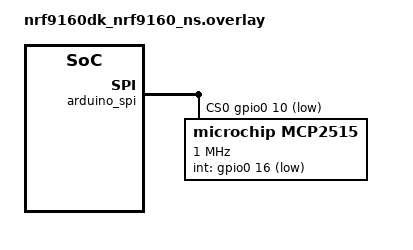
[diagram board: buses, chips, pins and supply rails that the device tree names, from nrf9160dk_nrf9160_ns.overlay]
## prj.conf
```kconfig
#
# Copyright (c) 2019 Nordic Semiconductor ASA
#
# SPDX-License-Identifier: LicenseRef-Nordic-5-Clause
#

# General
CONFIG_FPU=y
CONFIG_NRF_MODEM_LIB=y
CONFIG_STDOUT_CONSOLE=y
CONFIG_UART_INTERRUPT_DRIVEN=y
CONFIG_NEWLIB_LIBC=y
CONFIG_NEWLIB_LIBC_FLOAT_PRINTF=y
CONFIG_LOG=y
CONFIG_LOG_MODE_IMMEDIATE=y

# GNSS sample
# Enable to use nRF Cloud A-GPS
CONFIG_GNSS_SAMPLE_ASSISTANCE_NRF_CLOUD=n

# LTE Link Control
CONFIG_LTE_LINK_CONTROL=y
CONFIG_LTE_NETWORK_MODE_LTE_M_GPS=y
# Request eDRX from the network
CONFIG_LTE_EDRX_REQ=y
# PSM requested periodic TAU 8 hours
CONFIG_LTE_PSM_REQ_RPTAU="00101000"
# PSM requested active time 6 seconds
CONFIG_LTE_PSM_REQ_RAT="00000011"
# Auto-connect should be left off as we want the application to control LTE
CONFIG_LTE_AUTO_INIT_AND_CONNECT=n

# AT Host library - Used to send AT commands directy from an UART terminal and to allow
#		    integration with nRF Connect for Desktop LTE Link monitor application.
CONFIG_AT_HOST_LIBRARY=y

# Networking
CONFIG_NETWORKING=y
CONFIG_NET_SOCKETS_OFFLOAD=y
CONFIG_NET_SOCKETS=y
CONFIG_NET_SOCKETS_POSIX_NAMES=y
# Disable native network stack to save some memory
CONFIG_NET_NATIVE=n

# Memory and stack configuration
CONFIG_HEAP_MEM_POOL_SIZE=2048
CONFIG_MAIN_STACK_SIZE=4096
CONFIG_SYSTEM_WORKQUEUE_STACK_SIZE=1536

# CAN
CONFIG_SPI=y
CONFIG_CAN=y
CONFIG_CAN_MCP2515=y
CONFIG_CAN_INIT_PRIORITY=80
```

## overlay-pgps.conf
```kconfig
#
# Copyright (c) 2021 Nordic Semiconductor ASA
#
# SPDX-License-Identifier: LicenseRef-Nordic-5-Clause
#

# P-GPS overlay configuration

# Enable nRF Cloud assistance for GNSS sample
CONFIG_GNSS_SAMPLE_ASSISTANCE_NRF_CLOUD=n

# P-GPS
CONFIG_NRF_CLOUD_PGPS=n
CONFIG_NRF_CLOUD_PGPS_REPLACEMENT_THRESHOLD=4

# Disable A-GPS, comment this if you want to use both A-GPS and P-GPS at the same time
CONFIG_NRF_CLOUD_AGPS=n

# Storage for P-GPS
CONFIG_STREAM_FLASH=y
CONFIG_FLASH=y
CONFIG_FLASH_PAGE_LAYOUT=y
CONFIG_FLASH_MAP=y
CONFIG_FCB=y
CONFIG_SETTINGS=y
CONFIG_SETTINGS_FCB=y
CONFIG_MPU_ALLOW_FLASH_WRITE=y

# P-GPS needs more heap
CONFIG_HEAP_MEM_POOL_SIZE=8192

# Download client library stack size needs to be increased with P-GPS
CONFIG_DOWNLOAD_CLIENT_STACK_SIZE=1280
```

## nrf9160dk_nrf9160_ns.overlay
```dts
// To get started, press Ctrl+Space to bring up the completion menu and view the available nodes.

// You can also use the buttons in the sidebar to perform actions on nodes.
// Actions currently available include:

// * Enabling / disabling the node
// * Adding the bus to a bus
// * Removing the node
// * Connecting ADC channels

// For more help, browse the DeviceTree documentation at https://docs.zephyrproject.org/latest/guides/dts/index.html
// You can also visit the nRF DeviceTree extension documentation at https://nrfconnect.github.io/vscode-nrf-connect/devicetree/nrfdevicetree.html
&arduino_spi {
	cs-gpios = <&gpio0 10 GPIO_ACTIVE_LOW>;  /* P0.10 */

	mcp2515: can@0 {
		compatible = "microchip,mcp2515";
		spi-max-frequency = <1000000>;
		int-gpios = <&gpio0 16 GPIO_ACTIVE_LOW>; /* P0.16 */
		status = "okay";
		reg = <0x0>;
		osc-freq = <8000000>;
		bus-speed = <500000>;
		sjw = <1>;
		sample-point = <875>;

		can-transceiver {
			max-bitrate = <1000000>;
		};
	};
};

/ {
	chosen {
		zephyr,canbus = &mcp2515;
	};
};
```

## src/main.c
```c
/*
 * Copyright (c) 2019 Nordic Semiconductor ASA
 *
 * SPDX-License-Identifier: LicenseRef-Nordic-5-Clause
 */

// GNSS imports
#include <stdlib.h>
#include <string.h>
#include <math.h>
#include <zephyr/kernel.h>
#include <zephyr/logging/log.h>
#include <nrf_modem_at.h>
#include <nrf_modem_gnss.h>
#include <modem/lte_lc.h>
#include <date_time.h>

// UDP import
#include <zephyr/net/socket.h>

// CAN imports
// #include <zephyr/kernel.h>
#include <zephyr/sys/printk.h>
#include <zephyr/device.h>
#include <zephyr/drivers/can.h>
#include <zephyr/drivers/gpio.h>
#include <zephyr/sys/byteorder.h>

LOG_MODULE_REGISTER(gnss_sample, CONFIG_GNSS_SAMPLE_LOG_LEVEL);

CAN_MSGQ_DEFINE(obd_msgq, 2);
struct can_frame obd_frame;
const struct device *can_dev = DEVICE_DT_GET(DT_CHOSEN(zephyr_canbus));

#define OBD_BROADCAST_ID 0x7DF
#define ECU_ID 0x7E8

static int can_init()
{
	if (!device_is_ready(can_dev))
	{
		printk("CAN: Device %s not ready.\n", can_dev->name);
		return -1;
	}

	uint32_t ret;
	ret = can_set_mode(can_dev, CAN_MODE_NORMAL);
	if (ret != 0)
	{
		printk("Error setting CAN mode [%d]", ret);
		return -1;
	}

	ret = can_start(can_dev);

	if (ret != 0)
	{
		printk("Error starting CAN controller [%d]", ret);
		return -1;
	}

	const struct can_filter obd_filter = {
		.flags = CAN_FILTER_DATA,
		.id = ECU_ID,
		.mask = CAN_STD_ID_MASK
	};
	int filter_id;

	filter_id = can_add_rx_filter_msgq(can_dev, &obd_msgq, &obd_filter);
	if (filter_id < 0)
	{
		LOG_ERR("Unable to add rx filter [%d]", filter_id);
		return -1;
	}

	return 0;
}

#define PI 3.14159265358979323846
#define EARTH_RADIUS_METERS (6371.0 * 1000.0)

static const char update_indicator[] = {'\\', '|', '/', '-'};

static struct nrf_modem_gnss_pvt_data_frame last_pvt;

/* Reference position. */
static bool ref_used;
static double ref_latitude;
static double ref_longitude;

K_MSGQ_DEFINE(nmea_queue, sizeof(struct nrf_modem_gnss_nmea_data_frame *), 10, 4);
static K_SEM_DEFINE(pvt_data_sem, 0, 1);
K_SEM_DEFINE(lte_connected, 0, 1);
K_SEM_DEFINE(lte_idle, 0, 1);

static struct k_poll_event events[2] = {
	K_POLL_EVENT_STATIC_INITIALIZER(K_POLL_TYPE_SEM_AVAILABLE,
									K_POLL_MODE_NOTIFY_ONLY,
									&pvt_data_sem, 0),
	K_POLL_EVENT_STATIC_INITIALIZER(K_POLL_TYPE_MSGQ_DATA_AVAILABLE,
									K_POLL_MODE_NOTIFY_ONLY,
									&nmea_queue, 0),
};

BUILD_ASSERT(IS_ENABLED(CONFIG_LTE_NETWORK_MODE_LTE_M_GPS) ||
				 IS_ENABLED(CONFIG_LTE_NETWORK_MODE_NBIOT_GPS) ||
				 IS_ENABLED(CONFIG_LTE_NETWORK_MODE_LTE_M_NBIOT_GPS),
			 "CONFIG_LTE_NETWORK_MODE_LTE_M_GPS, "
			 "CONFIG_LTE_NETWORK_MODE_NBIOT_GPS or "
			 "CONFIG_LTE_NETWORK_MODE_LTE_M_NBIOT_GPS must be enabled");

BUILD_ASSERT((sizeof(CONFIG_GNSS_SAMPLE_REFERENCE_LATITUDE) == 1 &&
			  sizeof(CONFIG_GNSS_SAMPLE_REFERENCE_LONGITUDE) == 1) ||
				 (sizeof(CONFIG_GNSS_SAMPLE_REFERENCE_LATITUDE) > 1 &&
				  sizeof(CONFIG_GNSS_SAMPLE_REFERENCE_LONGITUDE) > 1),
			 "CONFIG_GNSS_SAMPLE_REFERENCE_LATITUDE and "
			 "CONFIG_GNSS_SAMPLE_REFERENCE_LONGITUDE must be both either set or empty");

/* Returns the distance between two coordinates in meters. The distance is calculated using the
 * haversine formula.
 */
static double distance_calculate(double lat1, double lon1,
								 double lat2, double lon2)
{
	double d_lat_rad = (lat2 - lat1) * PI / 180.0;
	double d_lon_rad = (lon2 - lon1) * PI / 180.0;

	double lat1_rad = lat1 * PI / 180.0;
	double lat2_rad = lat2 * PI / 180.0;

	double a = pow(sin(d_lat_rad / 2), 2) +
			   pow(sin(d_lon_rad / 2), 2) *
				   cos(lat1_rad) * cos(lat2_rad);

	double c = 2 * asin(sqrt(a));

	return EARTH_RADIUS_METERS * c;
}

static void print_distance_from_reference(struct nrf_modem_gnss_pvt_data_frame *pvt_data)
{
	if (!ref_used)
	{
		return;
	}

	double distance = distance_calculate(pvt_data->latitude, pvt_data->longitude,
										 ref_latitude, ref_longitude);

	if (IS_ENABLED(CONFIG_GNSS_SAMPLE_MODE_TTFF_TEST))
	{
		LOG_INF("Distance from reference: %.01f", distance);
	}
	else
	{
		printk("\nDistance from reference: %.01f\n", distance);
	}
}

static void gnss_event_handler(int event)
{
	int retval;
	struct nrf_modem_gnss_nmea_data_frame *nmea_data;

	switch (event)
	{
	case NRF_MODEM_GNSS_EVT_PVT:
		retval = nrf_modem_gnss_read(&last_pvt, sizeof(last_pvt), NRF_MODEM_GNSS_DATA_PVT);
		if (retval == 0)
		{
			k_sem_give(&pvt_data_sem);
		}
		break;

	case NRF_MODEM_GNSS_EVT_NMEA:
		nmea_data = k_malloc(sizeof(struct nrf_modem_gnss_nmea_data_frame));
		if (nmea_data == NULL)
		{
			LOG_ERR("Failed to allocate memory for NMEA");
			break;
		}

		retval = nrf_modem_gnss_read(nmea_data,
									 sizeof(struct nrf_modem_gnss_nmea_data_frame),
									 NRF_MODEM_GNSS_DATA_NMEA);
		if (retval == 0)
		{
			retval = k_msgq_put(&nmea_queue, &nmea_data, K_NO_WAIT);
		}

		if (retval != 0)
		{
			k_free(nmea_data);
		}
		break;
	default:
		break;
	}
}

static void lte_handler(const struct lte_lc_evt *const evt)
{
	switch (evt->type)
	{
	case LTE_LC_EVT_NW_REG_STATUS:
		if ((evt->nw_reg_status != LTE_LC_NW_REG_REGISTERED_HOME) &&
			(evt->nw_reg_status != LTE_LC_NW_REG_REGISTERED_ROAMING))
		{
			break;
		}

		printk("Network registration status: %s\n",
			   evt->nw_reg_status == LTE_LC_NW_REG_REGISTERED_HOME ? "Connected - home network" : "Connected - roaming\n");
		k_sem_give(&lte_connected);
		break;
	case LTE_LC_EVT_PSM_UPDATE:
		printk("PSM parameter update: TAU: %d, Active time: %d\n",
			   evt->psm_cfg.tau, evt->psm_cfg.active_time);
		break;
	case LTE_LC_EVT_EDRX_UPDATE:
	{
		char log_buf[60];
		ssize_t len;

		len = snprintk(log_buf, sizeof(log_buf),
					   "eDRX parameter update: eDRX: %f, PTW: %f\n",
					   evt->edrx_cfg.edrx, evt->edrx_cfg.ptw);
		if (len > 0)
		{
			printk("%s\n", log_buf);
		}
		break;
	}
	case LTE_LC_EVT_RRC_UPDATE:
		printk("RRC mode: %s\n",
			   evt->rrc_mode == LTE_LC_RRC_MODE_CONNECTED ? "Connected" : "Idle\n");
		if (evt->rrc_mode == LTE_LC_RRC_MODE_IDLE)
		{
			k_sem_give(&lte_idle);
		}
		break;
	case LTE_LC_EVT_CELL_UPDATE:
		printk("LTE cell changed: Cell ID: %d, Tracking area: %d\n",
			   evt->cell.id, evt->cell.tac);
		break;
	default:
		break;
	}
}

static int modem_init(void)
{
	int err;

	err = lte_lc_init();
	if (err)
	{
		LOG_ERR("Failed to initialize LTE link controller");
		return -1;
	}

	err = lte_lc_edrx_req(true);
	if (err)
	{
		LOG_ERR("lte_lc_edrx_req, error: %d\n", err);
		return -1;
	}

	err = lte_lc_connect_async(lte_handler);
	if (err)
	{
		printk("Connecting to LTE network failed, error: %d\n", err);
		return -1;
	}

	return 0;
}

static int gnss_init_and_start(void)
{
	/* Enable GNSS. */
	if (lte_lc_func_mode_set(LTE_LC_FUNC_MODE_ACTIVATE_GNSS) != 0)
	{
		LOG_ERR("Failed to activate GNSS functional mode");
		return -1;
	}

	/* Configure GNSS. */
	if (nrf_modem_gnss_event_handler_set(gnss_event_handler) != 0)
	{
		LOG_ERR("Failed to set GNSS event handler");
		return -1;
	}

	/* Enable all supported NMEA messages. */
	uint16_t nmea_mask = NRF_MODEM_GNSS_NMEA_RMC_MASK;

	if (nrf_modem_gnss_nmea_mask_set(nmea_mask) != 0)
	{
		LOG_ERR("Failed to set GNSS NMEA mask");
		return -1;
	}

	/* This use case flag should always be set. */
	uint8_t use_case = NRF_MODEM_GNSS_USE_CASE_MULTIPLE_HOT_START;

	if (nrf_modem_gnss_use_case_set(use_case) != 0)
	{
		LOG_WRN("Failed to set GNSS use case");
	}

	if (nrf_modem_gnss_start() != 0)
	{
		LOG_ERR("Failed to start GNSS");
		return -1;
	}

	return 0;
}

static void print_satellite_stats(struct nrf_modem_gnss_pvt_data_frame *pvt_data)
{
	uint8_t tracked = 0;
	uint8_t in_fix = 0;
	uint8_t unhealthy = 0;

	for (int i = 0; i < NRF_MODEM_GNSS_MAX_SATELLITES; ++i)
	{
		if (pvt_data->sv[i].sv > 0)
		{
			tracked++;

			if (pvt_data->sv[i].flags & NRF_MODEM_GNSS_SV_FLAG_USED_IN_FIX)
			{
				in_fix++;
			}

			if (pvt_data->sv[i].flags & NRF_MODEM_GNSS_SV_FLAG_UNHEALTHY)
			{
				unhealthy++;
			}
		}
	}

	printk("Tracking: %2d Using: %2d Unhealthy: %d\n", tracked, in_fix, unhealthy);
}

static void print_fix_data(struct nrf_modem_gnss_pvt_data_frame *pvt_data)
{
	printk("Latitude:       %.06f\n", pvt_data->latitude);
	printk("Longitude:      %.06f\n", pvt_data->longitude);
	printk("Altitude:       %.01f m\n", pvt_data->altitude);
	printk("Accuracy:       %.01f m\n", pvt_data->accuracy);
	printk("Speed:          %.01f m/s\n", pvt_data->speed);
	printk("Speed accuracy: %.01f m/s\n", pvt_data->speed_accuracy);
	printk("Heading:        %.01f deg\n", pvt_data->heading);
	printk("Date:           %04u-%02u-%02u\n",
		   pvt_data->datetime.year,
		   pvt_data->datetime.month,
		   pvt_data->datetime.day);
	printk("Time (UTC):     %02u:%02u:%02u.%03u\n",
		   pvt_data->datetime.hour,
		   pvt_data->datetime.minute,
		   pvt_data->datetime.seconds,
		   pvt_data->datetime.ms);
	printk("PDOP:           %.01f\n", pvt_data->pdop);
	printk("HDOP:           %.01f\n", pvt_data->hdop);
	printk("VDOP:           %.01f\n", pvt_data->vdop);
	printk("TDOP:           %.01f\n", pvt_data->tdop);
}

static int client_fd;
static struct sockaddr_storage host_addr;
static struct k_work_delayable server_transmission_work;

static void server_disconnect(void)
{
	(void)close(client_fd);
}

static int server_init(void)
{
	struct sockaddr_in *server4 = ((struct sockaddr_in *)&host_addr);

	server4->sin_family = PF_INET;
	server4->sin_port = htons(65432);

	inet_pton(AF_INET, "137.184.6.77",
			  &server4->sin_addr);

	return 0;
}

static int server_connect(void)
{
	int err;

	client_fd = socket(AF_INET, SOCK_DGRAM, IPPROTO_UDP);
	if (client_fd < 0)
	{
		printk("Failed to create UDP socket: %d\n", errno);
		err = -errno;
		goto error;
	}

	err = connect(client_fd, (struct sockaddr *)&host_addr,
				  sizeof(struct sockaddr_in));
	if (err < 0)
	{
		printk("Connect failed : %d\n", errno);
		goto error;
	}

	return 0;

error:
	server_disconnect();

	return err;
}

int main(void)
{
	if (can_init() != 0)
	{
		LOG_ERR("Failed to initialize CAN");
		return -1;
	}
	printk("CAN INIT SUCCESS\n");
	uint8_t cnt = 0;
	struct nrf_modem_gnss_nmea_data_frame *nmea_data;

	LOG_INF("Starting GNSS sample");

	/* Initialize reference coordinates (if used). */
	if (sizeof(CONFIG_GNSS_SAMPLE_REFERENCE_LATITUDE) > 1 &&
		sizeof(CONFIG_GNSS_SAMPLE_REFERENCE_LONGITUDE) > 1)
	{
		ref_used = true;
		ref_latitude = atof(CONFIG_GNSS_SAMPLE_REFERENCE_LATITUDE);
		ref_longitude = atof(CONFIG_GNSS_SAMPLE_REFERENCE_LONGITUDE);
	}

	printk("K_SEM_COUNT_GET(LTE_CONNECTED)       %d\n", k_sem_count_get(&lte_connected));
	printk("K_SEM_COUNT_GET(LTE_IDLE)       %d\n", k_sem_count_get(&lte_idle));

	printk("MODEM INIT\n");
	if (modem_init() != 0)
	{
		LOG_ERR("Failed to initialize modem");
		return -1;
	}

	printk("K_SEM_COUNT_GET(LTE_CONNECTED)       %d\n", k_sem_count_get(&lte_connected));
	printk("K_SEM_COUNT_GET(LTE_IDLE)       %d\n", k_sem_count_get(&lte_idle));

	// while (k_sem_count_get(&lte_idle) == 0) {printk("WAITING FOR IDLE\n");}

	printk("GNSS INIT AND START\n");
	if (gnss_init_and_start() != 0)
	{
		LOG_ERR("Failed to initialize and start GNSS");
		return -1;
	}

	printk("K_SEM_COUNT_GET(LTE_CONNECTED)       %d\n", k_sem_count_get(&lte_connected));
	printk("K_SEM_COUNT_GET(LTE_IDLE)       %d\n", k_sem_count_get(&lte_idle));

	int64_t fix_timestamp = k_uptime_get();

	int err;
	unsigned long num_gnss_frames = 1;

	
	struct can_frame obd_request_frame = {
		.flags = 0,
		.id = OBD_BROADCAST_ID,
		.dlc = 8
	};

	obd_request_frame.data[0] = 2; // 2 bytes of data
	obd_request_frame.data[1] = 0x01; // Service 01 - show current data
	obd_request_frame.data[2] = 0x00; // PID 00 - Show supported PIDs 1-32
	// obd_request_frame.data[3] = DON'T CARE 3..7 don't matter since it is a 2-byte message
	
	bool PID_supported[256] = {false};
	printk("Identifying Available PIDs...");
	for (int checkPID = 0; checkPID < 0xFF; checkPID += 0x20)
	{
		obd_request_frame.data[2] = checkPID;
		err = can_send(can_dev, &obd_request_frame, K_MSEC(2000), NULL, NULL);
		if (err == 0)
		{
			err = k_msgq_get(&obd_msgq, &obd_frame, K_MSEC(2000));
			if (err == 0)
			{
				// printk("\tService %d PID %d:", obd_frame.data[1] - 0x40, obd_frame.data[2]);
				for (int i = 0; i < 8; i++)
				{
					if (obd_frame.data[3] & (1 << i))
					{
						PID_supported[checkPID + (8 - i)] = true;
					}
					if (obd_frame.data[4] & (1 << i))
					{
						PID_supported[checkPID + (16 - i)] = true;
					}
					if (obd_frame.data[5] & (1 << i))
					{
						PID_supported[checkPID + (24 - i)] = true;
					}
					if (obd_frame.data[6] & (1 << i))
					{
						PID_supported[checkPID + (32 - i)] = true;
					}
				}
			}
		}
	}
	printk("DONE\n");

	printk("PIDs Available:");
	for (int i = 0; i < 256; i++)
	{
		if (PID_supported[i])
		{
			printk(" %d,", i);
		}
	}
	printk("\n");
	obd_request_frame.data[2] = 0x00; // PID 00 - Show supported PIDs 1-32
	for (;;)
	{
		// FETCH ALL SUPPORTED PIDs
		for (int current_pid = 0; current_pid < 256; current_pid++)
		{
			if (PID_supported[current_pid])
			{
				obd_request_frame.data[2] = current_pid;
				printk("Sending OBD request...");
				err = can_send(can_dev, &obd_request_frame, K_MSEC(2000), NULL, NULL);
				if (err == 0)
				{
					printk("DONE\n");
				}
				else
				{
					printk("FAIL\n");
				}

				printk("Waiting for CAN...");
				err = k_msgq_get(&obd_msgq, &obd_frame, K_MSEC(2000));
				if (err == 0)
				{
					printk("DONE\n");
					printk("CAN RX frame:\n");
					printk("\tID: %03X\n", obd_frame.id);
					printk("\tDATA:");
					for (int i = 0; i < obd_frame.dlc; i++)
					{
						printk(" %02X", obd_frame.data[i]);
					}
					printk("\n");
					printk("\tService %d PID %d:", obd_frame.data[1] - 0x40, obd_frame.data[2]);
					for (int i = 3; i <= obd_frame.data[0]; i++)
					{
						printk(" %02X", obd_frame.data[i]);
					}
					printk("\n");
				}
				else
				{
					printk("SKIPPED\n");
				}
			}
		}

		k_msleep(2000);

		if (num_gnss_frames % 10 == 0)
		{
			printk("Publish - start\n");

			err = k_sem_take(&lte_idle, K_MSEC(1000));
			if (err == 0)
			{
				err = lte_lc_connect();
				if (err)
				{
					printk("Connecting to LTE network failed, error: %d\n", err);
					return -1;
				}

				err = server_init();
				if (err)
				{
					printk("Not able to initialize UDP server connection\n");
					return -1;
				}

				err = server_connect();
				if (err)
				{
					printk("Not able to connect to UDP server\n");
					return -1;
				}
				char buffer_nmea[NRF_MODEM_GNSS_NMEA_MAX_LEN];
				strncpy(buffer_nmea, nmea_data->nmea_str, NRF_MODEM_GNSS_NMEA_MAX_LEN);
				// TODO: BUFFER FOR PVT DATA

				printk("Transmitting UDP/IP payload of %d bytes to the ",
					NRF_MODEM_GNSS_NMEA_MAX_LEN + 28);
				printk("IP address %s, port number %d\n",
					"137.184.6.77",
					65432);

				err = send(client_fd, buffer_nmea, sizeof(buffer_nmea), 0);
				if (err < 0)
				{
					printk("Failed to transmit UDP packet, %d\n", errno);
					return -1;
				}

				server_disconnect();
				num_gnss_frames++;
				printk("Publish - complete\n");
				continue;
			}
		}
		// printk("Waiting on LTE to idle...");
		// while (k_sem_count_get(&lte_idle) == 0);
		// printk("DONE\nWaiting on GNSS event...");
		// (void)k_poll(events, 2, K_MSEC(1000));
		// printk("DONE\n");

		// if (events[0].state == K_POLL_STATE_SEM_AVAILABLE &&
		// 	k_sem_take(events[0].sem, K_NO_WAIT) == 0)
		// {
		// 	/* New PVT data available */
		// 	printk("\033[1;1H");
		// 	printk("\033[2J");
		// 	print_satellite_stats(&last_pvt);

		// 	if (last_pvt.flags & NRF_MODEM_GNSS_PVT_FLAG_DEADLINE_MISSED)
		// 	{
		// 		printk("GNSS operation blocked by LTE\n");
		// 	}
		// 	if (last_pvt.flags &
		// 		NRF_MODEM_GNSS_PVT_FLAG_NOT_ENOUGH_WINDOW_TIME)
		// 	{
		// 		printk("Insufficient GNSS time windows\n");
		// 	}
		// 	if (last_pvt.flags & NRF_MODEM_GNSS_PVT_FLAG_SLEEP_BETWEEN_PVT)
		// 	{
		// 		printk("Sleep period(s) between PVT notifications\n");
		// 	}
		// 	printk("-----------------------------------\n");

		// 	if (last_pvt.flags & NRF_MODEM_GNSS_PVT_FLAG_FIX_VALID)
		// 	{
		// 		fix_timestamp = k_uptime_get();
		// 		print_fix_data(&last_pvt);
		// 		print_distance_from_reference(&last_pvt);
		// 		num_gnss_frames++;
		// 	}
		// 	else
		// 	{
		// 		printk("Seconds since last fix: %d\n",
		// 			   (uint32_t)((k_uptime_get() - fix_timestamp) / 1000));
		// 		cnt++;
		// 		printk("Searching [%c]\n", update_indicator[cnt % 4]);
		// 	}

		// 	printk("\nNMEA strings:\n\n");
		// }
		// if (events[1].state == K_POLL_STATE_MSGQ_DATA_AVAILABLE &&
		// 	k_msgq_get(events[1].msgq, &nmea_data, K_NO_WAIT) == 0)
		// {
		// 	/* New NMEA data available */

		// 	printk("%s", nmea_data->nmea_str);
		// 	k_free(nmea_data);
		// }

		// events[0].state = K_POLL_STATE_NOT_READY;
		// events[1].state = K_POLL_STATE_NOT_READY;
	}

	return 0;
}
```
